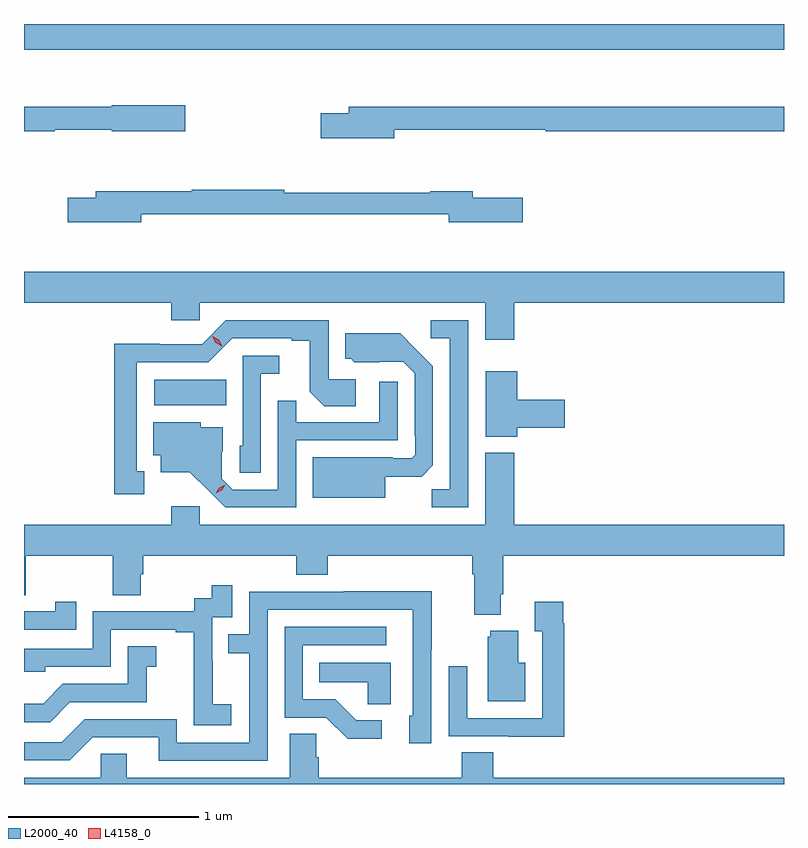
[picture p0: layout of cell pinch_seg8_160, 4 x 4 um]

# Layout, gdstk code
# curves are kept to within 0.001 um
import gdstk
lib = gdstk.Library(unit=1e-6, precision=1e-09)
def R(c, l, rs):  # rectangles x0, y0, x1, y1
    for r in rs: c.add(gdstk.rectangle(r[:2], r[2:], *l))
def P(c, l, *ps):  # polygons
    for p in ps: c.add(gdstk.Polygon(p, *l))
L2000_40 = (2000, 40)
L4158_0 = (4158, 0)

pinch_seg8_160 = lib.new_cell('pinch_seg8_160')
R(pinch_seg8_160, L2000_40, [(693.93,1154.588,694.31,1154.722), (693.245,1156.46,697.245,1156.595)])
P(pinch_seg8_160, L2000_40, [(693.408,1156.038),(693.708,1156.038),(693.708,1156.03),(694.093,1156.03),(694.093,1156.167),(693.708,1156.167),(693.708,1156.159),(693.245,1156.159),(693.245,1156.03),(693.408,1156.03)],
  [(695.194,1156.038),(695.99,1156.038),(695.99,1156.03),(697.245,1156.03),(697.245,1156.159),(694.955,1156.159),(694.955,1156.125),(694.806,1156.125),(694.806,1155.995),(695.194,1155.995)],
  [(693.862,1155.594),(695.48,1155.594),(695.48,1155.551),(695.869,1155.551),(695.869,1155.681),(695.608,1155.681),(695.608,1155.715),(695.384,1155.715),(695.384,1155.707),(694.616,1155.707),(694.616,1155.722),(694.127,1155.722),(694.127,1155.715),(693.623,1155.715),(693.623,1155.681),(693.474,1155.681),(693.474,1155.551),(693.862,1155.551)],
  [(695.825,1155.128),(697.245,1155.128),(697.245,1155.292),(693.245,1155.292),(693.245,1155.128),(694.019,1155.128),(694.019,1155.035),(694.17,1155.035),(694.17,1155.128),(695.672,1155.128),(695.672,1154.934),(695.825,1154.934)],
  [(693.877,1154.241),(693.838,1154.241),(693.838,1154.814),(694.215,1154.814),(694.341,1154.94),(694.655,1154.94),(694.655,1154.928),(694.749,1154.928),(694.749,1154.66),(694.825,1154.584),(694.99,1154.584),(694.99,1154.724),(694.848,1154.724),(694.848,1155.036),(694.308,1155.036),(694.182,1154.91),(693.96,1154.91),(693.96,1154.912),(693.72,1154.912),(693.72,1154.121),(693.877,1154.121)],
  [(695.583,1155.036),(695.385,1155.036),(695.385,1154.94),(695.487,1154.94),(695.487,1154.147),(695.392,1154.147),(695.392,1154.052),(695.583,1154.052)],
  [(695.146,1154.213),(695.338,1154.213),(695.397,1154.272),(695.397,1154.794),(695.225,1154.968),(694.937,1154.968),(694.937,1154.832),(694.968,1154.832),(694.984,1154.816),(695.241,1154.817),(695.301,1154.757),(695.301,1154.428),(695.304,1154.428),(695.304,1154.328),(695.286,1154.31),(695.186,1154.31),(695.186,1154.314),(694.766,1154.314),(694.766,1154.102),(695.146,1154.102)],
  [(694.491,1154.753),(694.588,1154.753),(694.588,1154.85),(694.395,1154.85),(694.395,1154.376),(694.38,1154.376),(694.38,1154.233),(694.491,1154.233)],
  [(695.842,1154.471),(696.091,1154.471),(696.091,1154.618),(695.842,1154.618),(695.842,1154.767),(695.675,1154.767),(695.675,1154.423),(695.842,1154.423)],
  [(694.677,1154.403),(695.211,1154.403),(695.211,1154.713),(695.115,1154.713),(695.115,1154.499),(694.679,1154.499),(694.679,1154.612),(694.581,1154.612),(694.581,1154.145),(694.344,1154.145),(694.287,1154.202),(694.287,1154.344),(694.291,1154.344),(694.291,1154.473),(694.176,1154.473),(694.176,1154.5),(693.926,1154.5),(693.926,1154.324),(693.965,1154.324),(693.965,1154.237),(694.117,1154.237),(694.304,1154.052),(694.677,1154.052)],
  [(694.17,1154.056),(694.019,1154.056),(694.019,1153.96),(693.245,1153.96),(693.245,1153.588),(693.255,1153.588),(693.255,1153.796),(693.712,1153.796),(693.712,1153.588),(693.859,1153.588),(693.859,1153.698),(693.872,1153.698),(693.872,1153.796),(694.679,1153.796),(694.679,1153.697),(694.844,1153.697),(694.844,1153.796),(695.603,1153.796),(695.603,1153.7),(695.615,1153.7),(695.615,1153.487),(695.755,1153.487),(695.755,1153.594),(695.768,1153.594),(695.768,1153.796),(697.245,1153.796),(697.245,1153.96),(695.825,1153.96),(695.825,1154.338),(695.672,1154.338),(695.672,1153.96),(694.17,1153.96)],
  [(694.336,1153.015),(694.238,1153.015),(694.238,1153.244),(694.236,1153.244),(694.236,1153.473),(694.341,1153.473),(694.341,1153.642),(694.233,1153.642),(694.233,1153.572),(694.14,1153.572),(694.14,1153.503),(693.606,1153.503),(693.606,1153.308),(693.245,1153.308),(693.245,1153.185),(693.357,1153.185),(693.357,1153.212),(693.702,1153.212),(693.702,1153.407),(694.043,1153.407),(694.043,1153.395),(694.139,1153.395),(694.139,1153.111),(694.138,1153.111),(694.138,1152.905),(694.336,1152.905)],
  [(694.527,1153.512),(695.292,1153.512),(695.292,1152.954),(695.273,1152.954),(695.273,1152.81),(695.388,1152.81),(695.388,1153.303),(695.391,1153.303),(695.391,1153.61),(694.927,1153.61),(694.927,1153.608),(694.431,1153.608),(694.431,1153.383),(694.321,1153.383),(694.321,1153.282),(694.431,1153.282),(694.431,1152.813),(694.05,1152.813),(694.05,1152.936),(693.564,1152.936),(693.444,1152.816),(693.245,1152.816),(693.245,1152.72),(693.486,1152.72),(693.606,1152.84),(693.953,1152.84),(693.953,1152.717),(694.527,1152.717)],
  [(693.521,1153.555),(693.41,1153.555),(693.41,1153.503),(693.245,1153.503),(693.245,1153.407),(693.521,1153.407)],
  [(696.089,1153.442),(696.082,1153.442),(696.082,1153.555),(695.933,1153.555),(695.933,1153.399),(695.973,1153.399),(695.973,1152.942),(695.577,1152.942),(695.577,1153.216),(695.481,1153.216),(695.481,1152.846),(695.797,1152.846),(695.797,1152.845),(696.089,1152.845)],
  [(695.128,1152.93),(694.993,1152.93),(694.882,1153.041),(694.713,1153.041),(694.713,1153.326),(695.152,1153.326),(695.152,1153.422),(694.617,1153.422),(694.617,1152.945),(694.836,1152.945),(694.949,1152.833),(695.128,1152.833)],
  [(695.884,1153.234),(695.845,1153.234),(695.845,1153.402),(695.699,1153.402),(695.699,1153.371),(695.687,1153.371),(695.687,1153.031),(695.884,1153.031)],
  [(693.487,1153.026),(693.891,1153.026),(693.891,1153.211),(693.94,1153.211),(693.94,1153.321),(693.792,1153.321),(693.792,1153.122),(693.45,1153.122),(693.346,1153.018),(693.245,1153.018),(693.245,1152.921),(693.382,1152.921)],
  [(695.176,1153.234),(694.798,1153.234),(694.798,1153.13),(695.055,1153.13),(695.055,1153.015),(695.176,1153.015)],
  [(697.245,1152.628),(695.714,1152.628),(695.714,1152.761),(695.549,1152.761),(695.549,1152.628),(694.796,1152.628),(694.796,1152.737),(694.782,1152.737),(694.782,1152.86),(694.643,1152.86),(694.643,1152.628),(693.787,1152.628),(693.787,1152.755),(693.648,1152.755),(693.648,1152.628),(693.245,1152.628),(693.245,1152.595),(697.245,1152.595)])
P(pinch_seg8_160, L4158_0, [(694.254,1154.125),(694.254,1154.125),(694.272,1154.155),(694.303,1154.17),(694.303,1154.17),(694.303,1154.17),(694.285,1154.14),(694.254,1154.125)],
  [(694.287,1154.9),(694.255,1154.918),(694.237,1154.951),(694.237,1154.951),(694.237,1154.951),(694.269,1154.932),(694.288,1154.9),(694.288,1154.9)])

lib.write_gds('pinch_seg8_160.gds')
